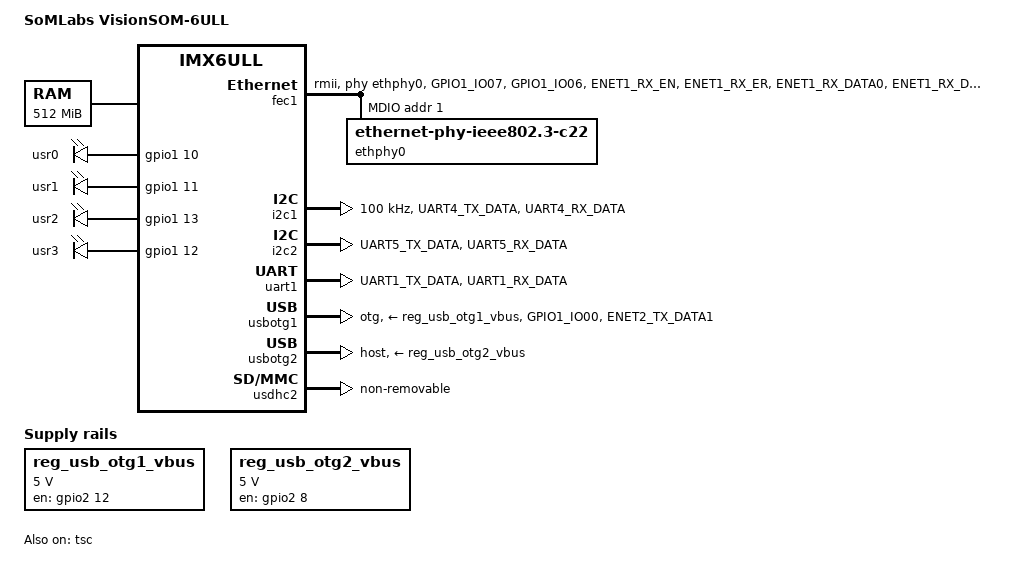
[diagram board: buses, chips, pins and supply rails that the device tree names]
// SPDX-License-Identifier: GPL-2.0+
/*
 * Copyright (C) 2017-2019 SoMLabs
 * Copyright (C) 2016 Freescale Semiconductor, Inc.
 */

/dts-v1/;

#include <dt-bindings/input/input.h>
#include "imx6ull.dtsi"

/ {
	model = "SoMLabs VisionSOM-6ULL";
	compatible = "fsl,imx6ull-14x14-evk", "fsl,imx6ull";

	chosen {
		stdout-path = &uart1;
	};

	memory {
		reg = <0x80000000 0x20000000>;
	};

	leds {
		compatible = "gpio-leds";

		usr0 {
			label = "usr0";
			gpios = <&gpio1 10 GPIO_ACTIVE_HIGH>;
			linux,default-trigger = "heartbeat";
		};

		usr1 {
			label = "usr1";
			gpios = <&gpio1 11 GPIO_ACTIVE_HIGH>;
			linux,default-trigger = "mmc0";
		};

		usr2 {
			label = "usr2";
			gpios = <&gpio1 13 GPIO_ACTIVE_HIGH>;
			linux,default-trigger = "mmc1";
		};

		usr3 {
			label = "usr3";
			gpios = <&gpio1 12 GPIO_ACTIVE_HIGH>;
		};
	};

	regulators {
		compatible = "simple-bus";
		#address-cells = <1>;
		#size-cells = <0>;

		reg_usb_otg1_vbus: regulator@2 {
			compatible = "regulator-fixed";
			reg = <2>;
			pinctrl-names = "default";
			pinctrl-0 = <&pinctrl_usb_otg1>;
			regulator-name = "usb_otg1_vbus";
			regulator-min-microvolt = <5000000>;
			regulator-max-microvolt = <5000000>;
			gpio = <&gpio2 12 GPIO_ACTIVE_HIGH>;
			enable-active-high;
		};

		reg_usb_otg2_vbus: regulator@3 {
			compatible = "regulator-fixed";
			reg = <3>;
			pinctrl-names = "default";
			pinctrl-0 = <&pinctrl_usb_otg2>;
			regulator-name = "usb_otg2_vbus";
			regulator-min-microvolt = <5000000>;
			regulator-max-microvolt = <5000000>;
			gpio = <&gpio2 8 GPIO_ACTIVE_HIGH>;
			enable-active-high;
		};

	};
};

&cpu0 {
	arm-supply = <&reg_arm>;
	soc-supply = <&reg_soc>;
};

&clks {
	assigned-clocks = <&clks IMX6UL_CLK_PLL4_AUDIO_DIV>;
	assigned-clock-rates = <786432000>;
};

&fec1 {
	pinctrl-names = "default";
	pinctrl-0 = <&pinctrl_enet1>;
	phy-mode = "rmii";
	phy-handle = <&ethphy0>;
	status = "okay";

	mdio {
		#address-cells = <1>;
		#size-cells = <0>;

		ethphy0: ethernet-phy@1 {
			compatible = "ethernet-phy-ieee802.3-c22";
			reg = <1>;
		};
	};

};

&gpc {
	fsl,cpu_pupscr_sw2iso = <0x1>;
	fsl,cpu_pupscr_sw = <0x0>;
	fsl,cpu_pdnscr_iso2sw = <0x1>;
	fsl,cpu_pdnscr_iso = <0x1>;
	fsl,ldo-bypass = <0>; /* DCDC, ldo-enable */
};

&i2c1 {
	clock-frequency = <100000>;
	pinctrl-names = "default";
	pinctrl-0 = <&pinctrl_i2c1>;

};

&i2c2 {
	clock_frequency = <100000>;
	pinctrl-names = "default";
	pinctrl-0 = <&pinctrl_i2c2>;
};

&iomuxc {
	pinctrl-names = "default";
	pinctrl-0 = <&pinctrl_hog_1>;

	pinctrl_hog_1: hoggrp-1 {
		fsl,pins = <
			/* 32kHz low power reference clock for WiFi */
			MX6UL_PAD_JTAG_TCK__OSC32K_32K_OUT	0x17099
			/* LED 0..3 */
			MX6UL_PAD_JTAG_MOD__GPIO1_IO10		0x17099
			MX6UL_PAD_JTAG_TMS__GPIO1_IO11		0x17099
			MX6UL_PAD_JTAG_TDI__GPIO1_IO13		0x17099
			MX6UL_PAD_JTAG_TDO__GPIO1_IO12		0x17099
		>;
	};

	pinctrl_enet1: enet1grp {
		fsl,pins = <
			MX6UL_PAD_GPIO1_IO07__ENET1_MDC		0x1b0b0
			MX6UL_PAD_GPIO1_IO06__ENET1_MDIO	0x1F829

			MX6UL_PAD_ENET1_RX_EN__ENET1_RX_EN	0x1b0b0
			MX6UL_PAD_ENET1_RX_ER__ENET1_RX_ER	0x1b0b0
			MX6UL_PAD_ENET1_RX_DATA0__ENET1_RDATA00	0x1b0b0
			MX6UL_PAD_ENET1_RX_DATA1__ENET1_RDATA01	0x1b0b0
			MX6UL_PAD_ENET1_TX_EN__ENET1_TX_EN	0x1b0b0
			MX6UL_PAD_ENET1_TX_DATA0__ENET1_TDATA00	0x1b0b0
			MX6UL_PAD_ENET1_TX_DATA1__ENET1_TDATA01	0x1b0b0
			MX6UL_PAD_ENET1_TX_CLK__ENET1_REF_CLK1	0x400010a9
		>;
	};

	pinctrl_i2c1: i2c1grp {
		fsl,pins = <
			MX6UL_PAD_UART4_TX_DATA__I2C1_SCL	0x4001b8b0
			MX6UL_PAD_UART4_RX_DATA__I2C1_SDA	0x4001b8b0
		>;
	};

	pinctrl_i2c2: i2c2grp {
		fsl,pins = <
			MX6UL_PAD_UART5_TX_DATA__I2C2_SCL	0x4001b8b0
			MX6UL_PAD_UART5_RX_DATA__I2C2_SDA	0x4001b8b0
		>;
	};

	pinctrl_tsc: tscgrp {
		fsl,pins = <
			MX6UL_PAD_GPIO1_IO01__GPIO1_IO01	0xb0
			MX6UL_PAD_GPIO1_IO02__GPIO1_IO02	0xb0
			MX6UL_PAD_GPIO1_IO03__GPIO1_IO03	0xb0
			MX6UL_PAD_GPIO1_IO04__GPIO1_IO04	0xb0
		>;
	};

	pinctrl_uart1: uart1grp {
		fsl,pins = <
			MX6UL_PAD_UART1_TX_DATA__UART1_DCE_TX	0x1b0b1
			MX6UL_PAD_UART1_RX_DATA__UART1_DCE_RX	0x1b0b1
		>;
	};

	pinctrl_usdhc2: usdhc2grp {
		fsl,pins = <
			MX6UL_PAD_NAND_RE_B__USDHC2_CLK		0x10069
			MX6UL_PAD_NAND_WE_B__USDHC2_CMD		0x17059
			MX6UL_PAD_NAND_DATA00__USDHC2_DATA0	0x17059
			MX6UL_PAD_NAND_DATA01__USDHC2_DATA1	0x17059
			MX6UL_PAD_NAND_DATA02__USDHC2_DATA2	0x17059
			MX6UL_PAD_NAND_DATA03__USDHC2_DATA3	0x17059
		>;
	};

	pinctrl_wdog: wdoggrp {
		fsl,pins = <
			MX6UL_PAD_ENET2_RX_ER__WDOG1_WDOG_ANY	0x30b0
		>;
	};

	pinctrl_usb_otg1: usbotg1grp {
		fsl,pins = <
			MX6UL_PAD_GPIO1_IO00__ANATOP_OTG1_ID	0x17059
			MX6UL_PAD_ENET2_TX_DATA1__GPIO2_IO12	0x10b0
		>;
	};

	pinctrl_usb_otg2: usbotg2grp {
		fsl,pins = <
			MX6UL_PAD_ENET2_RX_DATA0__GPIO2_IO08	0x10b0
		>;
	};
};

&tsc {
	pinctrl-names = "default";
	pinctrl-0 = <&pinctrl_tsc>;
	xnur-gpio = <&gpio1 3 GPIO_ACTIVE_LOW>;
	measure-delay-time = <0xffff>;
	pre-charge-time = <0xfff>;
	status = "okay";
};

&uart1 {
	pinctrl-names = "default";
	pinctrl-0 = <&pinctrl_uart1>;
	status = "okay";
};

&usbotg1 {
	vbus-supply = <&reg_usb_otg1_vbus>;
	pinctrl-names = "default";
	pinctrl-0 = <&pinctrl_usb_otg1>;
	dr_mode = "otg";
	srp-disable;
	hnp-disable;
	adp-disable;
	status = "okay";
};

&usbotg2 {
	vbus-supply = <&reg_usb_otg2_vbus>;
	dr_mode = "host";
	status = "okay";
};

&usbphy1 {
	tx-d-cal = <0x5>;
};

&usbphy2 {
	tx-d-cal = <0x5>;
};

&usdhc2 {
	non-removable;
	disable-wp;
	status = "okay";
};

&wdog1 {
	pinctrl-names = "default";
	pinctrl-0 = <&pinctrl_wdog>;
	fsl,wdog_b;
};
